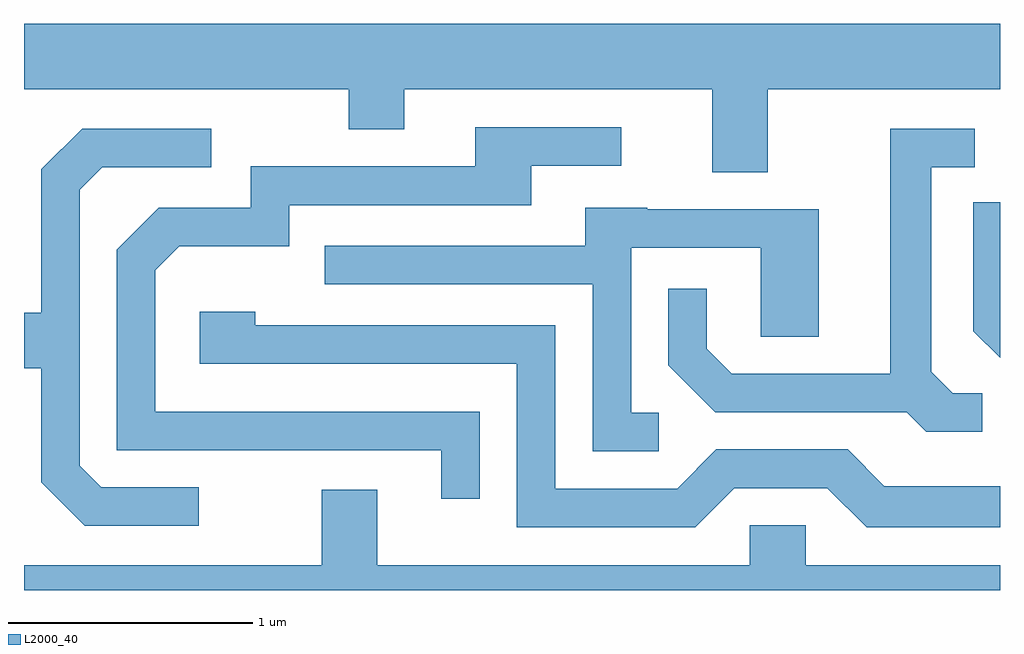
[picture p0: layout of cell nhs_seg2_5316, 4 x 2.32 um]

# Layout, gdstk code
import gdstk
lib = gdstk.Library(unit=1e-6, precision=1e-09)
def P(c, l, *ps):  # polygons
    for p in ps: c.add(gdstk.Polygon(p, *l))
L2000_40 = (2000, 40)

nhs_seg2_5316 = lib.new_cell('nhs_seg2_5316')
P(nhs_seg2_5316, L2000_40, [(344.659,1063.856),(345.611,1063.856),(345.611,1064.124),(341.611,1064.124),(341.611,1063.856),(342.941,1063.856),(342.941,1063.691),(343.169,1063.691),(343.169,1063.856),(344.431,1063.856),(344.431,1063.516),(344.659,1063.516)],
  [(343.479,1062.534),(342.149,1062.534),(342.149,1063.114),(342.247,1063.211),(342.699,1063.211),(342.699,1063.381),(343.689,1063.381),(343.689,1063.541),(344.058,1063.541),(344.058,1063.699),(343.461,1063.699),(343.461,1063.539),(342.541,1063.539),(342.541,1063.369),(342.164,1063.369),(341.991,1063.197),(341.991,1062.376),(343.321,1062.376),(343.321,1062.178),(343.479,1062.178)],
  [(345.538,1062.609),(345.417,1062.609),(345.329,1062.697),(345.329,1063.536),(345.508,1063.536),(345.508,1063.694),(345.161,1063.694),(345.161,1062.689),(344.512,1062.689),(344.409,1062.792),(344.409,1063.038),(344.251,1063.038),(344.251,1062.724),(344.444,1062.531),(345.229,1062.531),(345.309,1062.451),(345.538,1062.451)],
  [(342.328,1062.224),(341.927,1062.224),(341.839,1062.312),(341.839,1063.444),(341.932,1063.536),(342.378,1063.536),(342.378,1063.694),(341.849,1063.694),(341.681,1063.527),(341.681,1062.939),(341.611,1062.939),(341.611,1062.711),(341.681,1062.711),(341.681,1062.244),(341.859,1062.066),(342.328,1062.066)],
  [(345.611,1063.393),(345.501,1063.393),(345.501,1062.864),(345.611,1062.754)],
  [(344.213,1062.529),(344.099,1062.529),(344.099,1063.206),(344.631,1063.206),(344.631,1062.841),(344.869,1062.841),(344.869,1063.364),(344.165,1063.364),(344.165,1063.369),(343.911,1063.369),(343.911,1063.214),(342.843,1063.214),(342.843,1063.056),(343.941,1063.056),(343.941,1062.371),(344.213,1062.371)],
  [(344.522,1062.221),(344.904,1062.221),(345.064,1062.061),(345.611,1062.061),(345.611,1062.229),(345.137,1062.229),(344.987,1062.379),(344.449,1062.379),(344.289,1062.219),(343.789,1062.219),(343.789,1062.889),(342.559,1062.889),(342.559,1062.944),(342.331,1062.944),(342.331,1062.731),(343.631,1062.731),(343.631,1062.061),(344.362,1062.061)],
  [(345.611,1061.904),(344.814,1061.904),(344.814,1062.069),(344.586,1062.069),(344.586,1061.904),(343.059,1061.904),(343.059,1062.214),(342.831,1062.214),(342.831,1061.904),(341.611,1061.904),(341.611,1061.802),(345.611,1061.802)])

lib.write_gds('nhs_seg2_5316.gds')
